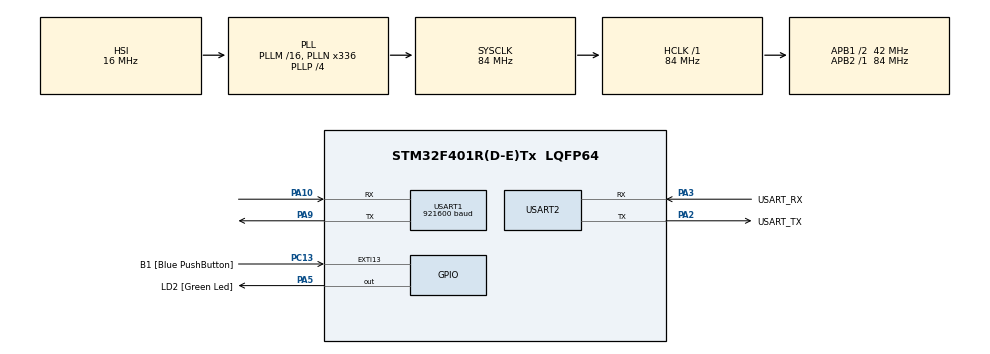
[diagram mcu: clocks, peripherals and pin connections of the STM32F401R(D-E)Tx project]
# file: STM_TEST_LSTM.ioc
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Mcu.Family=STM32F4
Mcu.Name=STM32F401R(D-E)Tx
Mcu.Package=LQFP64
NVIC.PriorityGroup=NVIC_PRIORITYGROUP_4
PA10.Mode=Asynchronous
PA10.Signal=USART1_RX
PA13.GPIO_Label=TMS
PA13.Mode=Serial_Wire
PA13.Signal=SYS_JTMS-SWDIO
PA14.GPIO_Label=TCK
PA14.Mode=Serial_Wire
PA14.Signal=SYS_JTCK-SWCLK
PA2.GPIO_Label=USART_TX
PA2.GPIO_Mode=GPIO_MODE_AF_PP
PA2.GPIO_PuPd=GPIO_NOPULL
PA2.GPIO_Speed=GPIO_SPEED_FREQ_LOW
PA2.Mode=Asynchronous
PA2.Signal=USART2_TX
PA3.GPIO_Label=USART_RX
PA3.GPIO_Mode=GPIO_MODE_AF_PP
PA3.GPIO_PuPd=GPIO_NOPULL
PA3.GPIO_Speed=GPIO_SPEED_FREQ_LOW
PA3.Mode=Asynchronous
PA3.Signal=USART2_RX
PA5.GPIO_Label=LD2 [Green Led]
PA5.GPIO_Mode=GPIO_MODE_OUTPUT_PP
PA5.GPIO_PuPd=GPIO_NOPULL
PA5.GPIO_Speed=GPIO_SPEED_FREQ_LOW
PA5.Signal=GPIO_Output
PA9.Mode=Asynchronous
PA9.Signal=USART1_TX
PB3.GPIO_Label=SWO
PB3.Signal=SYS_JTDO-SWO
PC13-ANTI_TAMP.GPIO_Label=B1 [Blue PushButton]
PC13-ANTI_TAMP.GPIO_ModeDefaultEXTI=GPIO_MODE_IT_FALLING
PC13-ANTI_TAMP.GPIO_PuPd=GPIO_NOPULL
PC13-ANTI_TAMP.Signal=GPXTI13
PC14-OSC32_IN.Mode=LSE-External-Oscillator
PC14-OSC32_IN.Signal=RCC_OSC32_IN
PC15-OSC32_OUT.Mode=LSE-External-Oscillator
PC15-OSC32_OUT.Signal=RCC_OSC32_OUT
PH0\ -\ OSC_IN.Mode=HSE-External-Clock-Source
PH0\ -\ OSC_IN.Signal=RCC_OSC_IN
PH1\ -\ OSC_OUT.Mode=HSE-External-Clock-Source
PH1\ -\ OSC_OUT.Signal=RCC_OSC_OUT
ProjectManager.HeapSize=0x800
ProjectManager.StackSize=0x2000
ProjectManager.TargetToolchain=STM32CubeIDE
RCC.48MHZClocksFreq_Value=48000000
RCC.AHBFreq_Value=84000000
RCC.APB1CLKDivider=RCC_HCLK_DIV2
RCC.APB1Freq_Value=42000000
RCC.APB1TimFreq_Value=84000000
RCC.APB2Freq_Value=84000000
RCC.APB2TimFreq_Value=84000000
RCC.CortexFreq_Value=84000000
RCC.HCLKFreq_Value=84000000
RCC.HSE_VALUE=8000000
RCC.HSI_VALUE=16000000
RCC.PLLN=336
RCC.PLLP=RCC_PLLP_DIV4
RCC.PLLQ=7
RCC.SYSCLKFreq_VALUE=84000000
RCC.SYSCLKSource=RCC_SYSCLKSOURCE_PLLCLK
RCC.VCOOutputFreq_Value=336000000
USART1.BaudRate=921600
USART1.VirtualMode=VM_ASYNC
USART2.VirtualMode=VM_ASYNC
board=NUCLEO-F401RE

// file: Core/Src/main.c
/* USER CODE BEGIN Header */
/**
  ******************************************************************************
  * @file           : main.c
  * @brief          : Main program body
  ******************************************************************************
  * @attention
  *
  * Copyright (c) 2026 STMicroelectronics.
  * All rights reserved.
  *
  * This software is licensed under terms that can be found in the LICENSE file
  * in the root directory of this software component.
  * If no LICENSE file comes with this software, it is provided AS-IS.
  *
  ******************************************************************************
  */
/* USER CODE END Header */
#include "main.h"
#include "usart.h"
#include "gpio.h"

/* USER CODE BEGIN Includes */
#include "app_inference.h"
#include <stdio.h>
/* USER CODE END Includes */

void SystemClock_Config(void);

/* USER CODE BEGIN 0 */
#ifdef __GNUC__
#define PUTCHAR_PROTOTYPE int __io_putchar(int ch)
#else
#define PUTCHAR_PROTOTYPE int fputc(int ch, FILE *f)
#endif

PUTCHAR_PROTOTYPE
{
  HAL_UART_Transmit(&huart2, (uint8_t *)&ch, 1, HAL_MAX_DELAY);
  return ch;
}
/* USER CODE END 0 */

int main(void)
{

  /* MCU Configuration--------------------------------------------------------*/

  /* Reset of all peripherals, Initializes the Flash interface and the Systick. */
  HAL_Init();

  /* Configure the system clock */
  SystemClock_Config();

  /* Initialize all configured peripherals */
  MX_GPIO_Init();
  MX_USART1_UART_Init();
  MX_USART2_UART_Init();
  /* USER CODE BEGIN 2 */
  HAL_Delay(500);
  printf("\r\n=== STM32F401RE CubeSat SOH Inference ===\r\n");

  if (App_Inference_Init() != 0) {
      printf("Init failed - entering error blink loop.\r\n");
      while (1) {
          HAL_GPIO_TogglePin(LD2_GPIO_Port, LD2_Pin);
          HAL_Delay(100);
      }
  }

  printf("Ready. Waiting for windows on USART1 (921600 baud)...\r\n");
  /* USER CODE END 2 */

  /* Infinite loop */
  /* USER CODE BEGIN WHILE */
  while (1)
  {
    App_Inference_RunOnce();
    /* USER CODE END WHILE */
  }
}

void SystemClock_Config(void)
{
  RCC_OscInitTypeDef RCC_OscInitStruct = {0};
  RCC_ClkInitTypeDef RCC_ClkInitStruct = {0};

  /** Configure the main internal regulator output voltage
  */
  __HAL_RCC_PWR_CLK_ENABLE();
  __HAL_PWR_VOLTAGESCALING_CONFIG(PWR_REGULATOR_VOLTAGE_SCALE2);

  /** Initializes the RCC Oscillators according to the specified parameters
  * in the RCC_OscInitTypeDef structure.
  */
  RCC_OscInitStruct.OscillatorType = RCC_OSCILLATORTYPE_HSI;
  RCC_OscInitStruct.HSIState = RCC_HSI_ON;
  RCC_OscInitStruct.HSICalibrationValue = RCC_HSICALIBRATION_DEFAULT;
  RCC_OscInitStruct.PLL.PLLState = RCC_PLL_ON;
  RCC_OscInitStruct.PLL.PLLSource = RCC_PLLSOURCE_HSI;
  RCC_OscInitStruct.PLL.PLLM = 16;
  RCC_OscInitStruct.PLL.PLLN = 336;
  RCC_OscInitStruct.PLL.PLLP = RCC_PLLP_DIV4;
  RCC_OscInitStruct.PLL.PLLQ = 7;
  if (HAL_RCC_OscConfig(&RCC_OscInitStruct) != HAL_OK)
  {
    Error_Handler();
  }

  /** Initializes the CPU, AHB and APB buses clocks
  */
  RCC_ClkInitStruct.ClockType = RCC_CLOCKTYPE_HCLK|RCC_CLOCKTYPE_SYSCLK
                              |RCC_CLOCKTYPE_PCLK1|RCC_CLOCKTYPE_PCLK2;
  RCC_ClkInitStruct.SYSCLKSource = RCC_SYSCLKSOURCE_PLLCLK;
  RCC_ClkInitStruct.AHBCLKDivider = RCC_SYSCLK_DIV1;
  RCC_ClkInitStruct.APB1CLKDivider = RCC_HCLK_DIV2;
  RCC_ClkInitStruct.APB2CLKDivider = RCC_HCLK_DIV1;

  if (HAL_RCC_ClockConfig(&RCC_ClkInitStruct, FLASH_LATENCY_2) != HAL_OK)
  {
    Error_Handler();
  }
}

void Error_Handler(void)
{
  __disable_irq();
  while (1)
  {
  }
}
